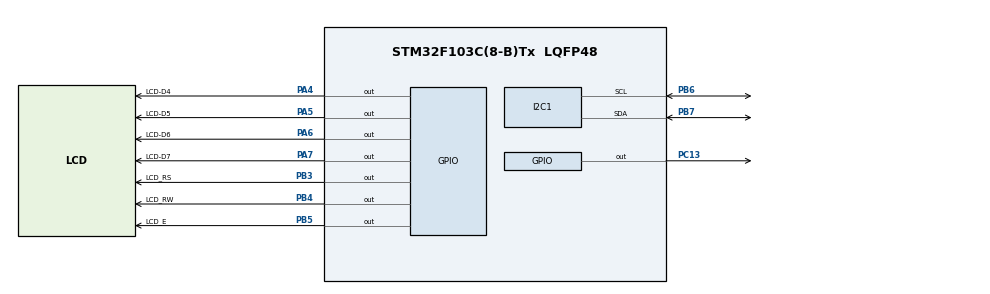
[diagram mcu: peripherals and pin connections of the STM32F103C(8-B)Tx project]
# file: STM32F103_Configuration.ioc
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Mcu.Family=STM32F1
Mcu.Name=STM32F103C(8-B)Tx
Mcu.Package=LQFP48
NVIC.PriorityGroup=NVIC_PRIORITYGROUP_4
PA0-WKUP.Mode=SYS_WakeUp0
PA0-WKUP.Signal=SYS_WKUP
PA13.Mode=Serial_Wire
PA13.Signal=SYS_JTMS-SWDIO
PA14.Mode=Serial_Wire
PA14.Signal=SYS_JTCK-SWCLK
PA4.GPIO_Label=LCD-D4
PA4.GPIO_ModeDefaultOutputPP=GPIO_MODE_OUTPUT_OD
PA4.GPIO_PuPd=GPIO_NOPULL
PA4.GPIO_Speed=GPIO_SPEED_FREQ_LOW
PA4.Signal=GPIO_Output
PA5.GPIO_Label=LCD-D5
PA5.GPIO_ModeDefaultOutputPP=GPIO_MODE_OUTPUT_OD
PA5.GPIO_PuPd=GPIO_NOPULL
PA5.GPIO_Speed=GPIO_SPEED_FREQ_LOW
PA5.Signal=GPIO_Output
PA6.GPIO_Label=LCD-D6
PA6.GPIO_ModeDefaultOutputPP=GPIO_MODE_OUTPUT_OD
PA6.GPIO_PuPd=GPIO_NOPULL
PA6.GPIO_Speed=GPIO_SPEED_FREQ_LOW
PA6.Signal=GPIO_Output
PA7.GPIO_Label=LCD-D7
PA7.GPIO_ModeDefaultOutputPP=GPIO_MODE_OUTPUT_OD
PA7.GPIO_PuPd=GPIO_NOPULL
PA7.GPIO_Speed=GPIO_SPEED_FREQ_LOW
PA7.Signal=GPIO_Output
PB3.GPIO_Label=LCD_RS
PB3.Signal=GPIO_Output
PB4.GPIO_Label=LCD_RW
PB4.Signal=GPIO_Output
PB5.GPIO_Label=LCD_E
PB5.Signal=GPIO_Output
PB6.Mode=I2C
PB6.Signal=I2C1_SCL
PB7.Mode=I2C
PB7.Signal=I2C1_SDA
PC13-TAMPER-RTC.Signal=GPIO_Output
ProjectManager.HeapSize=0x200
ProjectManager.StackSize=0x400
ProjectManager.TargetToolchain=MDK-ARM V5.32
RCC.APB1Freq_Value=8000000
RCC.APB2Freq_Value=8000000
board=custom

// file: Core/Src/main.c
/* USER CODE BEGIN Header */
/**
  ******************************************************************************
  * @file           : main.c
  * @brief          : Main program body
  ******************************************************************************
  * @attention
  *
  * Copyright (c) 2023 STMicroelectronics.
  * All rights reserved.
  *
  * This software is licensed under terms that can be found in the LICENSE file
  * in the root directory of this software component.
  * If no LICENSE file comes with this software, it is provided AS-IS.
  *
  ******************************************************************************
  */
/* USER CODE END Header */
#include "main.h"

/* USER CODE BEGIN Includes */
#include "myLCD.h"
#include <stdio.h>
#define DS1307_I2C_ADDR     	0x68
#define DS1307_REG_SECOND     0x00
#define DS1307_REG_MINUTE     0x01
#define DS1307_REG_HOUR      	0x02
#define DS1307_REG_DOW        0x03
#define DS1307_REG_DATE       0x04
#define DS1307_REG_MONTH      0x05
#define DS1307_REG_YEAR       0x06
#define DS1307_REG_CONTROL    0x07
#define DS1307_REG_UTC_HR    	0x08
#define DS1307_REG_UTC_MIN    0x09
#define DS1307_REG_CENT       0x10
#define DS1307_TIMEOUT        1000
/* USER CODE END Includes */

I2C_HandleTypeDef hi2c1;

/* USER CODE BEGIN PV */
uint8_t timeBuffer[7] = {0};
uint8_t timeRead[7] = {0};
char time[16],cal[16];
/* USER CODE END PV */

void SystemClock_Config(void);
static void MX_GPIO_Init(void);
static void MX_I2C1_Init(void);
/* USER CODE BEGIN PFP */
void date_display(uint8_t val);
void convertTimeIntToString(void)
{
	sprintf(time, "  %d:%d:%d", timeRead[2], timeRead[1],timeRead[0]);
	sprintf(cal,"   %d-%d-20%d",timeRead[4], timeRead[5],timeRead[6]);
}
void printNumber(uint8_t val)
{
	char* str;
	if(val<10) sprintf(str,"0%d",val);
	else sprintf(str,"%d",val);
	print_LCD(str,2);
}
void clockDisplay(void){
	move_LCD(1,1);
	printNumber(timeRead[2]);putChar_LCD(':');
	printNumber(timeRead[1]);putChar_LCD(':');
	printNumber(timeRead[0]);
}
void calDisplay(void){
	move_LCD(2,1);
	date_display(timeRead[3]);
	printNumber(timeRead[4]);putChar_LCD('-');
	printNumber(timeRead[5]);putChar_LCD('-');
	print_LCD("20",2); printNumber(timeRead[6]);
}
void display(void)
{
	move_LCD(1,1);
	print_LCD(time,16);
	move_LCD(2,1);
	date_display(timeRead[3]);
	print_LCD(cal,16);
	/*clockDisplay();
	calDisplay();*/
}
int bcd2dec(uint8_t num)
{
		return ((num/16 * 10) + (num % 16));
}

int dec2bcd(uint8_t num)
{
		return ((num/10 * 16) + (num % 10));
}

void DS1307_SetRegByte(uint8_t regAddr, uint8_t val) {
    uint8_t bytes[2] = { regAddr, dec2bcd(val) };
    HAL_I2C_Master_Transmit(&hi2c1, DS1307_I2C_ADDR << 1, bytes, 2, DS1307_TIMEOUT);
}
uint8_t DS1307_GetRegByte(uint8_t regAddr) {
    uint8_t val;
    HAL_I2C_Master_Transmit(&hi2c1, DS1307_I2C_ADDR << 1, &regAddr, 1, DS1307_TIMEOUT);
	__NOP();
	__NOP();
    HAL_I2C_Master_Receive(&hi2c1, DS1307_I2C_ADDR << 1, &val, 1, DS1307_TIMEOUT);
	__NOP();
	__NOP();
    return bcd2dec(val);
}
void writeDS1307(uint8_t hour, uint8_t min, uint8_t sec, uint8_t wday, uint8_t date, uint8_t month, uint8_t year){
	/*uint8_t buffer[8];
	buffer[0]=0x00;
	buffer[1]=dec2bcd(sec);
	buffer[2]=dec2bcd(min);
	buffer[3]=dec2bcd(hour);
	buffer[4]=dec2bcd(wday);
	buffer[5]=dec2bcd(date);
	buffer[6]=dec2bcd(month);
	buffer[7]=dec2bcd(year);
	HAL_I2C_Master_Transmit(&hi2c1,DS1307_I2C_ADDR << 1,buffer,8,DS1307_TIMEOUT);*/
	DS1307_SetRegByte(DS1307_REG_SECOND,sec);
	DS1307_SetRegByte(DS1307_REG_MINUTE,min);
	DS1307_SetRegByte(DS1307_REG_HOUR,hour);
	DS1307_SetRegByte(DS1307_REG_DOW,wday);
	DS1307_SetRegByte(DS1307_REG_DATE,date);
	DS1307_SetRegByte(DS1307_REG_MONTH,month);
	DS1307_SetRegByte(DS1307_REG_YEAR,year);
}
void readDS1307(void)
{
	timeRead[0]=DS1307_GetRegByte(DS1307_REG_SECOND);
	timeRead[1]=DS1307_GetRegByte(DS1307_REG_MINUTE);
	timeRead[2]=DS1307_GetRegByte(DS1307_REG_HOUR);
	timeRead[3]=DS1307_GetRegByte(DS1307_REG_DOW);
	timeRead[4]=DS1307_GetRegByte(DS1307_REG_DATE);
	timeRead[5]=DS1307_GetRegByte(DS1307_REG_MONTH);
	timeRead[6]=DS1307_GetRegByte(DS1307_REG_YEAR);
}
uint8_t toASCII(uint8_t val)
{
	switch(val)
	{
		case 0: val= 0x30; break;
		case 1: val= 0x31; break;
		case 2: val= 0x32; break;
		case 3: val= 0x33; break;
		case 4: val= 0x34; break;
		case 5: val= 0x35; break;
		case 6: val= 0x36; break;
		case 7: val= 0x37; break;
		case 8: val= 0x38; break;
		case 9: val= 0x39; break;
	}
	return val;
}
void time_display(uint8_t *time)
{
	char hnm[5] ;//hour and min
	hnm[0]=(char)toASCII(time[1]/10);
	hnm[1]=(char)toASCII(time[1]%10);
	hnm[2]=':';
	hnm[3]=(char)toASCII(time[0]/10);
	hnm[4]=(char)toASCII(time[0]%10);
	move_LCD(1,1);
	putChar_LCD(' ');
	putChar_LCD(' ');
	print_LCD(hnm,5);
}
void date_display(uint8_t val)
{
	switch(val)
	{
		case 2: print_LCD("Mon ",3); break;
		case 3: print_LCD("Tue ",3); break;
		case 4: print_LCD("Wed ",3); break;
		case 5: print_LCD("Thu ",3); break;
		case 6: print_LCD("Fri ",3); break;
		case 7: print_LCD("Sat ",3); break;
		case 1: print_LCD("Sun ",3); break;
	}
}
void cal_display(uint8_t *time)
{
	char hnm[10] ;//hour and min
	hnm[0]=(char)toASCII(time[3]/10);
	hnm[1]=(char)toASCII(time[3]%10);
	hnm[2]='/';
	hnm[3]=(char)toASCII(time[4]/10);
	hnm[4]=(char)toASCII(time[4]%10);
	hnm[5]='/';
	hnm[6]=(char)toASCII(2);
	hnm[7]=(char)toASCII(0);
	hnm[8]=(char)toASCII(time[5]/10);
	hnm[9]=(char)toASCII(time[5]%10);
	move_LCD(2,1);
	date_display(time[2]);
	putChar_LCD(' ');
	putChar_LCD(' ');
	print_LCD(hnm,10);
}
/* USER CODE END PFP */

int main(void)
{

  /* MCU Configuration--------------------------------------------------------*/

  /* Reset of all peripherals, Initializes the Flash interface and the Systick. */
  HAL_Init();

  /* Configure the system clock */
  SystemClock_Config();

  /* Initialize all configured peripherals */
  MX_GPIO_Init();
  MX_I2C1_Init();
  /* USER CODE BEGIN 2 */
	/*lcd16x2_init_4bits(LCD_RS_GPIO_Port, LCD_RS_Pin, LCD_E_Pin,
      LCD_D4_GPIO_Port, LCD_D4_Pin, LCD_D5_Pin, LCD_D6_Pin, LCD_D7_Pin);

  lcd16x2_printf("Hello World");*/
	init_LCD();
	clr_LCD();
	putChar_LCD(' ');
	putChar_LCD(' ');
	char* row1 = "Demo of the";
	print_LCD(row1,12);
	move_LCD(2,1);
	print_LCD("2x16 LCD Display",16);
	clr_LCD();
	HAL_Delay(500);
  /* USER CODE END 2 */

  /* Infinite loop */
  /* USER CODE BEGIN WHILE */
  while (1)
  {
		readDS1307();
		convertTimeIntToString();
		display();
		HAL_Delay(1000);//delay 1s
    /* USER CODE END WHILE */

  }
}

void SystemClock_Config(void)
{
  RCC_OscInitTypeDef RCC_OscInitStruct = {0};
  RCC_ClkInitTypeDef RCC_ClkInitStruct = {0};

  /** Initializes the RCC Oscillators according to the specified parameters
  * in the RCC_OscInitTypeDef structure.
  */
  RCC_OscInitStruct.OscillatorType = RCC_OSCILLATORTYPE_HSI;
  RCC_OscInitStruct.HSIState = RCC_HSI_ON;
  RCC_OscInitStruct.HSICalibrationValue = RCC_HSICALIBRATION_DEFAULT;
  RCC_OscInitStruct.PLL.PLLState = RCC_PLL_NONE;
  if (HAL_RCC_OscConfig(&RCC_OscInitStruct) != HAL_OK)
  {
    Error_Handler();
  }

  /** Initializes the CPU, AHB and APB buses clocks
  */
  RCC_ClkInitStruct.ClockType = RCC_CLOCKTYPE_HCLK|RCC_CLOCKTYPE_SYSCLK
                              |RCC_CLOCKTYPE_PCLK1|RCC_CLOCKTYPE_PCLK2;
  RCC_ClkInitStruct.SYSCLKSource = RCC_SYSCLKSOURCE_HSI;
  RCC_ClkInitStruct.AHBCLKDivider = RCC_SYSCLK_DIV1;
  RCC_ClkInitStruct.APB1CLKDivider = RCC_HCLK_DIV1;
  RCC_ClkInitStruct.APB2CLKDivider = RCC_HCLK_DIV1;

  if (HAL_RCC_ClockConfig(&RCC_ClkInitStruct, FLASH_LATENCY_0) != HAL_OK)
  {
    Error_Handler();
  }
}

static void MX_I2C1_Init(void)
{

  hi2c1.Instance = I2C1;
  hi2c1.Init.ClockSpeed = 100000;
  hi2c1.Init.DutyCycle = I2C_DUTYCYCLE_2;
  hi2c1.Init.OwnAddress1 = 0;
  hi2c1.Init.AddressingMode = I2C_ADDRESSINGMODE_7BIT;
  hi2c1.Init.DualAddressMode = I2C_DUALADDRESS_DISABLE;
  hi2c1.Init.OwnAddress2 = 0;
  hi2c1.Init.GeneralCallMode = I2C_GENERALCALL_DISABLE;
  hi2c1.Init.NoStretchMode = I2C_NOSTRETCH_DISABLE;
  if (HAL_I2C_Init(&hi2c1) != HAL_OK)
  {
    Error_Handler();
  }

}

static void MX_GPIO_Init(void)
{
  GPIO_InitTypeDef GPIO_InitStruct = {0};

  /* GPIO Ports Clock Enable */
  __HAL_RCC_GPIOC_CLK_ENABLE();
  __HAL_RCC_GPIOA_CLK_ENABLE();
  __HAL_RCC_GPIOB_CLK_ENABLE();

  /*Configure GPIO pin Output Level */
  HAL_GPIO_WritePin(GPIOC, GPIO_PIN_13, GPIO_PIN_RESET);

  /*Configure GPIO pin Output Level */
  HAL_GPIO_WritePin(GPIOA, LCD_D4_Pin|LCD_D5_Pin|LCD_D6_Pin|LCD_D7_Pin, GPIO_PIN_RESET);

  /*Configure GPIO pin Output Level */
  HAL_GPIO_WritePin(GPIOB, LCD_RS_Pin|LCD_RW_Pin|LCD_E_Pin, GPIO_PIN_RESET);

  /*Configure GPIO pin : PC13 */
  GPIO_InitStruct.Pin = GPIO_PIN_13;
  GPIO_InitStruct.Mode = GPIO_MODE_OUTPUT_PP;
  GPIO_InitStruct.Pull = GPIO_NOPULL;
  GPIO_InitStruct.Speed = GPIO_SPEED_FREQ_LOW;
  HAL_GPIO_Init(GPIOC, &GPIO_InitStruct);

  /*Configure GPIO pins : LCD_D4_Pin LCD_D5_Pin LCD_D6_Pin LCD_D7_Pin */
  GPIO_InitStruct.Pin = LCD_D4_Pin|LCD_D5_Pin|LCD_D6_Pin|LCD_D7_Pin;
  GPIO_InitStruct.Mode = GPIO_MODE_OUTPUT_OD;
  GPIO_InitStruct.Pull = GPIO_NOPULL;
  GPIO_InitStruct.Speed = GPIO_SPEED_FREQ_LOW;
  HAL_GPIO_Init(GPIOA, &GPIO_InitStruct);

  /*Configure GPIO pins : LCD_RS_Pin LCD_RW_Pin LCD_E_Pin */
  GPIO_InitStruct.Pin = LCD_RS_Pin|LCD_RW_Pin|LCD_E_Pin;
  GPIO_InitStruct.Mode = GPIO_MODE_OUTPUT_PP;
  GPIO_InitStruct.Pull = GPIO_NOPULL;
  GPIO_InitStruct.Speed = GPIO_SPEED_FREQ_LOW;
  HAL_GPIO_Init(GPIOB, &GPIO_InitStruct);

}

/* USER CODE BEGIN 4 */
void portA_Direction(int direction){
	// purpose is change direction of port A, pin 4|5|6|7
	//correspond mode register of them when cofigure is CRL(Port Configuration Register Low)(Port x configuration bits (y= 0->7))
	//correspond bit of MODE  = bit (0:1)	(4:5)	(8:9)	 	(12:13) |	(16:17)	(20:21)	(24:25)	(28:29)
	//00-Analog,01-Floating Input, 10-Input with pull up|pull down, 11-Reversed
	//correspond bit of CNF 	= bit (2:3)	(6:7)	(10:11)	(14:15)	| (18:19)	(22:23)	(26:27)	(30:31)
	//00-General purpose output push-pull, 01-00-General purpose output open-drain
	if (direction == 0) {
			// Configure pins 4-7 as inputs with floating configuration
			GPIOA->CRL &= 0x0000FFFF;
			GPIOA->CRL |= 0x44440000;
	} else {
			// Configure pins 4-7 as outputs with open-drain configuration
			GPIOA->CRL &= 0x0000FFFF;
			GPIOA->CRL |= 0x11110000;
	}
}
/* USER CODE END 4 */

void Error_Handler(void)
{
  __disable_irq();
  while (1)
  {
  }
}
